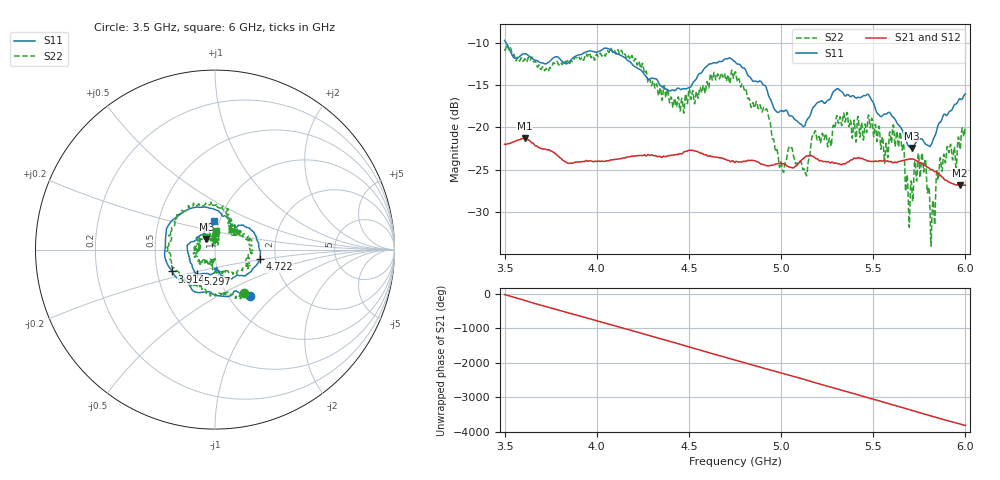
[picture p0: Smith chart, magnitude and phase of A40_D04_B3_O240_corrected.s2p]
! Created with skrf 1.9.0 (http://scikit-rf.org).
# Hz S RI R 50.0
!freq ReS11 ImS11 ReS21 ImS21 ReS12 ImS12 ReS22 ImS22
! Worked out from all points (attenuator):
!   1601 points, 3.5 GHz to 6 GHz, reference 50 ohm
!   highest |S21| = -21.29 dB at 3.609 GHz (marker M1); lowest = -26.8 dB at 5.97 GHz (marker M2)
!   lowest |S11| = -22.4 dB at 5.709 GHz (marker M3), VSWR 1.16, Z = 45.2 + j5.34 ohm
!   |S11| at or under -10 dB: 3.507 GHz to end of sweep
!   |S22| runs from -34.0 to -10.2 dB; largest |S21 - S12| = 0.001
!   S11 on the Smith chart (normalised r, x): 3.5 GHz: 1.25, -0.73; 3.914 GHz: 0.60, -0.16; 4.722 GHz: 1.66, -0.19; 5.297 GHz: 0.79, -0.22; 6 GHz: 0.94, +0.30
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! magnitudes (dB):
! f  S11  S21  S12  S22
! 3.5 GHz  -9.7  -22.0  -21.9  -10.8
! 3.609 GHz  -11.3  -21.3  -21.3  -11.9
! 3.914 GHz  -11.4  -24.0  -24.0  -11.9
! 3.917 GHz  -11.4  -24.0  -24.0  -11.8
! 4.125 GHz  -11.4  -23.7  -23.7  -11.3
! 4.334 GHz  -14.7  -23.4  -23.4  -16.2
! 4.722 GHz  -11.8  -24.0  -23.9  -14.8
! 4.75 GHz  -12.3  -24.1  -24.0  -13.5
! 4.919 GHz  -15.3  -24.5  -24.5  -17.8
! 5.003 GHz  -18.0  -24.3  -24.2  -24.4
! 5.131 GHz  -19.6  -23.5  -23.4  -25.4
! 5.167 GHz  -18.0  -23.4  -23.3  -21.2
! 5.297 GHz  -15.5  -24.2  -24.1  -19.3
! 5.584 GHz  -18.2  -24.0  -23.9  -21.9
! 5.655 GHz  -20.2  -23.9  -23.8  -22.5
! 5.686 GHz  -22.0  -23.8  -23.8  -26.1
! 5.709 GHz  -22.4  -23.7  -23.6  -27.1
! 5.773 GHz  -21.6  -24.4  -24.3  -25.3
! 5.822 GHz  -21.6  -25.0  -24.9  -29.0
! 5.855 GHz  -19.6  -25.5  -25.4  -26.0
! 5.97 GHz  -16.6  -26.8  -26.8  -22.6
! 6 GHz  -16.1  -26.8  -26.7  -19.9
